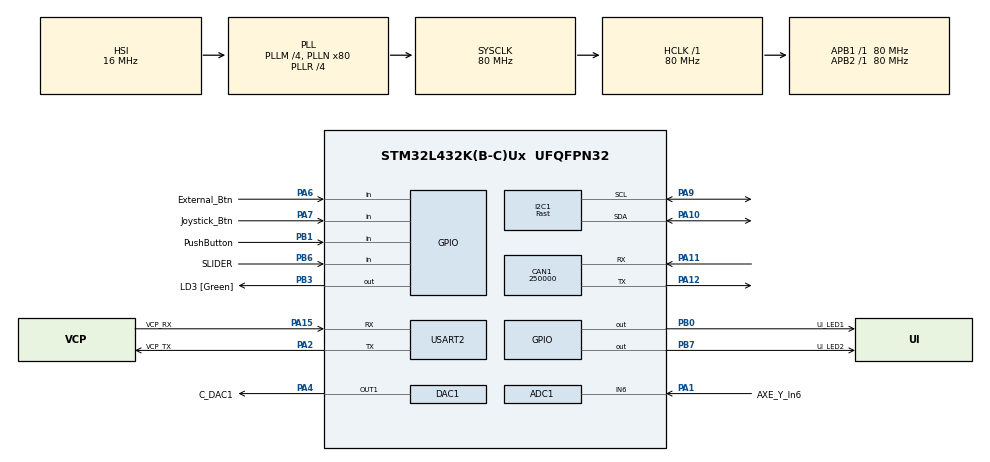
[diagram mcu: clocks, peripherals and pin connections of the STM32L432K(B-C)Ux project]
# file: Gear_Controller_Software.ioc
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ADC1.ClockPrescaler=ADC_CLOCK_ASYNC_DIV64
ADC1.ContinuousConvMode=DISABLE
ADC1.DiscontinuousConvMode=DISABLE
ADC1.EnableInjectedConversion=ENABLE
ADC1.EnableRegularConversion=DISABLE
ADC1.InjMonitoredBy-2\#ChannelInjectedConversion=__NULL
ADC1.InjNumberOfConversion=1
ADC1.InjectedChannel-2\#ChannelInjectedConversion=ADC_CHANNEL_6
ADC1.InjectedOffsetNumber-2\#ChannelInjectedConversion=ADC_OFFSET_NONE
ADC1.InjectedRank-2\#ChannelInjectedConversion=1
ADC1.InjectedSamplingTime-2\#ChannelInjectedConversion=ADC_SAMPLETIME_2CYCLES_5
ADC1.Rank1_Channel=ADC_CHANNEL_6
ADC1.Resolution=ADC_RESOLUTION_12B
ADC1.master=1
CAN1.BS1=CAN_BS1_11TQ
CAN1.BS2=CAN_BS2_8TQ
CAN1.CalculateBaudRate=250000
CAN1.CalculateTimeBit=4000
CAN1.CalculateTimeQuantum=200.0
Dma.ADC1.0.Direction=DMA_PERIPH_TO_MEMORY
Dma.ADC1.0.Instance=DMA1_Channel1
Dma.ADC1.0.MemDataAlignment=DMA_MDATAALIGN_HALFWORD
Dma.ADC1.0.MemInc=DMA_MINC_ENABLE
Dma.ADC1.0.Mode=DMA_CIRCULAR
Dma.ADC1.0.PeriphDataAlignment=DMA_PDATAALIGN_HALFWORD
Dma.ADC1.0.PeriphInc=DMA_PINC_DISABLE
Dma.ADC1.0.Priority=DMA_PRIORITY_LOW
Dma.Request0=ADC1
I2C1.I2C_Rise_Time=0
I2C1.I2C_Speed_Mode=I2C_Fast
I2C1.Timing=0x00712989
Mcu.Family=STM32L4
Mcu.Name=STM32L432K(B-C)Ux
Mcu.Package=UFQFPN32
NVIC.ADC1_IRQn=true\:2\:0\:true\:false\:true\:true\:true\:true
NVIC.CAN1_RX0_IRQn=true\:1\:0\:true\:false\:true\:true\:true\:true
NVIC.CAN1_RX1_IRQn=true\:0\:0\:false\:false\:true\:true\:true\:true
NVIC.CAN1_TX_IRQn=true\:1\:0\:true\:false\:true\:true\:true\:true
NVIC.DMA1_Channel1_IRQn=true\:0\:0\:false\:false\:true\:false\:true\:true
NVIC.PriorityGroup=NVIC_PRIORITYGROUP_4
NVIC.TIM2_IRQn=true\:0\:0\:false\:false\:true\:true\:true\:true
PA1.GPIO_Label=AXE_Y_In6
PA1.Signal=ADCx_IN6
PA10.Mode=I2C
PA10.Signal=I2C1_SDA
PA11.Mode=CAN_Activate
PA11.Signal=CAN1_RX
PA12.Mode=CAN_Activate
PA12.Signal=CAN1_TX
PA13\ (JTMS-SWDIO).GPIO_Label=SWDIO
PA13\ (JTMS-SWDIO).Mode=Serial_Wire
PA13\ (JTMS-SWDIO).Signal=SYS_JTMS-SWDIO
PA14\ (JTCK-SWCLK).GPIO_Label=SWCLK
PA14\ (JTCK-SWCLK).Mode=Serial_Wire
PA14\ (JTCK-SWCLK).Signal=SYS_JTCK-SWCLK
PA15\ (JTDI).GPIO_Label=VCP_RX
PA15\ (JTDI).Mode=Asynchronous
PA15\ (JTDI).Signal=USART2_RX
PA2.GPIO_Label=VCP_TX
PA2.Mode=Asynchronous
PA2.Signal=USART2_TX
PA3.Signal=ADCx_IN8
PA4.GPIO_Label=C_DAC1
PA4.Signal=COMP_DAC11_group
PA5.Signal=ADCx_IN10
PA6.GPIO_Label=External_Btn
PA6.Signal=GPIO_Input
PA7.GPIO_Label=Joystick_Btn
PA7.Signal=GPIO_Input
PA9.Mode=I2C
PA9.Signal=I2C1_SCL
PB0.GPIO_Label=UI_LED1
PB0.GPIO_ModeDefaultOutputPP=GPIO_MODE_OUTPUT_OD
PB0.GPIO_PuPd=GPIO_NOPULL
PB0.Signal=GPIO_Output
PB1.GPIO_Label=PushButton
PB1.Signal=GPIO_Input
PB3\ (JTDO-TRACESWO).GPIO_Label=LD3 [Green]
PB3\ (JTDO-TRACESWO).Signal=GPIO_Output
PB6.GPIO_Label=SLIDER
PB6.Signal=GPIO_Input
PB7.GPIO_Label=UI_LED2
PB7.GPIO_ModeDefaultOutputPP=GPIO_MODE_OUTPUT_OD
PB7.GPIO_PuPd=GPIO_NOPULL
PB7.Signal=GPIO_Output
PC14-OSC32_IN\ (PC14).Mode=LSE-External-Oscillator
PC14-OSC32_IN\ (PC14).Signal=RCC_OSC32_IN
PC15-OSC32_OUT\ (PC15).Mode=LSE-External-Oscillator
PC15-OSC32_OUT\ (PC15).Signal=RCC_OSC32_OUT
ProjectManager.HeapSize=0x200
ProjectManager.StackSize=0x400
ProjectManager.TargetToolchain=STM32CubeIDE
RCC.ADCFreq_Value=32000000
RCC.AHBFreq_Value=80000000
RCC.APB1Freq_Value=80000000
RCC.APB1TimFreq_Value=80000000
RCC.APB2Freq_Value=80000000
RCC.APB2TimFreq_Value=80000000
RCC.CortexFreq_Value=80000000
RCC.HCLKFreq_Value=80000000
RCC.HSE_VALUE=8000000
RCC.HSI16_VALUE=16000000
RCC.HSI48_VALUE=48000000
RCC.HSI_VALUE=16000000
RCC.I2C1CLockSelection=RCC_I2C1CLKSOURCE_SYSCLK
RCC.MSI_VALUE=4000000
RCC.PLLM=4
RCC.PLLMUL=RCC_PLLMUL_4
RCC.PLLN=80
RCC.PLLR=RCC_PLLR_DIV4
RCC.PLLSAI1N=16
RCC.PLLSourceVirtual=RCC_PLLSOURCE_HSI
RCC.SYSCLKFreq_VALUE=80000000
RCC.SYSCLKSource=RCC_SYSCLKSOURCE_PLLCLK
RCC.USBFreq_Value=32000000
RCC.VCOOutputFreq_Value=320000000
SH.ADCx_IN10.0=ADC1_IN10
SH.ADCx_IN6.0=ADC1_IN6,IN6-Single-Ended
SH.ADCx_IN8.0=ADC1_IN8
SH.COMP_DAC11_group.0=DAC1_OUT1,DAC_OUT1
TIM2.AutoReloadPreload=TIM_AUTORELOAD_PRELOAD_ENABLE
TIM2.Period=999
TIM2.Prescaler=79
USART2.VirtualMode-Asynchronous=VM_ASYNC
VP_TIM2_VS_ClockSourceINT.Mode=Internal
board=NUCLEO-L432KC

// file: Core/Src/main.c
/* USER CODE BEGIN Header */
/**
  ******************************************************************************
  * @file           : main.c
  * @brief          : Main program body
  ******************************************************************************
  * @attention
  *
  * Copyright (c) 2026 STMicroelectronics.
  * All rights reserved.
  *
  * This software is licensed under terms that can be found in the LICENSE file
  * in the root directory of this software component.
  * If no LICENSE file comes with this software, it is provided AS-IS.
  *
  ******************************************************************************
  */
/* USER CODE END Header */
#include "main.h"

/* USER CODE BEGIN Includes */

#include "Project_Defines.h"
//#include "301/CO_ODinterface.h"

/* USER CODE END Includes */

ADC_HandleTypeDef hadc1;
DMA_HandleTypeDef hdma_adc1;

CAN_HandleTypeDef hcan1;

DAC_HandleTypeDef hdac1;

I2C_HandleTypeDef hi2c1;

TIM_HandleTypeDef htim2;

UART_HandleTypeDef huart2;

/* USER CODE BEGIN PV */
CANopenNodeSTM32 canOpenNodeSTM32;
Gear_ST gear;

//uint32_t adc_ch6 = 0; // Channel 6 of the ADC
//uint32_t adc_ch8 = 0; // Channel 8 of the ADC
bool lectureADC = true;
uint32_t pos;
//I2C_HandleTypeDef *phi2c1;

/* USER CODE END PV */

void SystemClock_Config(void);
static void MX_GPIO_Init(void);
static void MX_DMA_Init(void);
static void MX_USART2_UART_Init(void);
static void MX_ADC1_Init(void);
static void MX_CAN1_Init(void);
static void MX_DAC1_Init(void);
static void MX_TIM2_Init(void);
static void MX_I2C1_Init(void);

/* USER CODE BEGIN 0 */
void HAL_ADCEx_InjectedConvCpltCallback(ADC_HandleTypeDef *hadc)
{
	pos = HAL_ADCEx_InjectedGetValue(hadc, ADC_INJECTED_RANK_1);
	OD_RAM.x2003_gearADCpos = pos;
	gear.position = pos;
	HAL_ADCEx_InjectedStart_IT(&hadc1);
}

void HAL_TIM_PeriodElapsedCallback(TIM_HandleTypeDef *htim)
{
	canopen_app_interrupt();
	XF_decrementAndQueueTimers();
}

static OD_extension_t my_extensionGear;

//Saves parameters from bus master
  static ODR_t storeCallback(OD_stream_t *stream, const void *buf,OD_size_t count, OD_size_t *countWritten)
  {
  	if (stream->subIndex == 4) // save manufacturer defined parameters (subindex 4)
  	{
  		if(strncmp(buf,"save",4) == 0) // check if «save» string has been written (Byte0‐3)
  		{
  			FlashErase(1); // erase flash
  			FlashWrite(0,0x1234567812345678); // signature

  			FlashWrite(8,OD_PERSIST_COMM.x2001_gearPos0); // save your parameters values
  			FlashWrite(16,OD_PERSIST_COMM.x2002_gearPos1); // save your parameters values
  			FlashWrite(24,OD_PERSIST_COMM.x2005_gearPosN); // save your parameters values

  		}
  	}
  }

  //write in OD if right data in bus master
  void mapCallbacks(OD_t *od) {

  	/* Find the OD entry for Index 0x1010 */
  	OD_entry_t *entry = OD_find(od, 0x1010); // Find the OD entry for joystick value
  	if (entry != NULL) {
  		// Assign the custom write function (set read to NULL if not needed)
  		my_extensionGear.read = NULL;

  		// utilisé pour écrire sur la flash
  		my_extensionGear.write = storeCallback;

  		my_extensionGear.object = NULL; // Can be used to store private data
  		// Register the extension to the OD entry
  		OD_extension_init(entry, &my_extensionGear);
  	}
  }

/* USER CODE END 0 */

int main(void)
{

  /* MCU Configuration--------------------------------------------------------*/

  /* Reset of all peripherals, Initializes the Flash interface and the Systick. */
  HAL_Init();

  /* Configure the system clock */
  SystemClock_Config();

  /* Initialize all configured peripherals */
  MX_GPIO_Init();
  MX_DMA_Init();
  MX_USART2_UART_Init();
  MX_ADC1_Init();
  MX_CAN1_Init();
  MX_DAC1_Init();
  MX_TIM2_Init();
  MX_I2C1_Init();
  /* USER CODE BEGIN 2 */
  HAL_TIM_Base_Start_IT(&htim2);

  XF_init();

  HAL_DAC_Start(&hdac1, DAC_CHANNEL_1);

  // before canopen_app_init()
  //read data entered from flash
  if(FlashRead(0) == 0x1234567812345678)
  {
	  //if default values saved in flash, read flash (for now no values stored)
	  OD_PERSIST_COMM.x2001_gearPos0 = FlashRead(8);
	  OD_PERSIST_COMM.x2002_gearPos1 = FlashRead(16);
	  OD_PERSIST_COMM.x2005_gearPosN = FlashRead(24);
  }
  else
  {
	  FlashErase(1); // erase flash
	  FlashWrite(0,0x1234567812345678); // signature

	  FlashWrite(8,OD_PERSIST_COMM.x2001_gearPos0); // save your parameters values
	  FlashWrite(16,OD_PERSIST_COMM.x2002_gearPos1); // save your parameters values
	  FlashWrite(24,OD_PERSIST_COMM.x2005_gearPosN); // save your parameters values

  }

  // 1. Map the CANopen instance to your hardware (hcan1 is usually defined by CubeMX)
  canOpenNodeSTM32.CANHandle = &hcan1;
  // 2. Set your hardware initialization function (defined in can.c)
  canOpenNodeSTM32.HWInitFunction = MX_CAN1_Init;
  // 3. Map the timer used for CANopen heartbeat and fast tasks (e.g., TIM2)
  canOpenNodeSTM32.timerHandle = &htim2;
  // 4. Configure Node‐ID (1‐127) and Baudrate (e.g., 125, 250, 500, 1000)
  canOpenNodeSTM32.desiredNodeID = 5;
  canOpenNodeSTM32.baudrate = 250;
  // 5. Initialize the application
//  mapCallbacks(OD);
  canopen_app_init(&canOpenNodeSTM32);
  HAL_ADCEx_InjectedStart(&hadc1);

  //Initialize SM_
  XF_post(gearProcess, E_INIT, 0);

  /* USER CODE END 2 */

  /* Infinite loop */
  /* USER CODE BEGIN WHILE */
  while (1)
  {
	  canopen_app_process();

    /* USER CODE END WHILE */

    /* USER CODE BEGIN 3 */

	  XF_executeOnce();
	  if(HAL_ADCEx_InjectedPollForConversion(&hadc1, 0) == HAL_OK)
	  {
		  pos = HAL_ADCEx_InjectedGetValue(&hadc1, ADC_INJECTED_RANK_1);
		  OD_RAM.x2003_gearADCpos = pos;
		  gear.position = pos;
		  HAL_ADCEx_InjectedStart(&hadc1);
	  }

  }
  /* USER CODE END 3 */
}

void SystemClock_Config(void)
{
  RCC_OscInitTypeDef RCC_OscInitStruct = {0};
  RCC_ClkInitTypeDef RCC_ClkInitStruct = {0};

  /** Configure the main internal regulator output voltage
  */
  if (HAL_PWREx_ControlVoltageScaling(PWR_REGULATOR_VOLTAGE_SCALE1) != HAL_OK)
  {
    Error_Handler();
  }

  /** Initializes the RCC Oscillators according to the specified parameters
  * in the RCC_OscInitTypeDef structure.
  */
  RCC_OscInitStruct.OscillatorType = RCC_OSCILLATORTYPE_HSI;
  RCC_OscInitStruct.HSIState = RCC_HSI_ON;
  RCC_OscInitStruct.HSICalibrationValue = RCC_HSICALIBRATION_DEFAULT;
  RCC_OscInitStruct.PLL.PLLState = RCC_PLL_ON;
  RCC_OscInitStruct.PLL.PLLSource = RCC_PLLSOURCE_HSI;
  RCC_OscInitStruct.PLL.PLLM = 4;
  RCC_OscInitStruct.PLL.PLLN = 80;
  RCC_OscInitStruct.PLL.PLLP = RCC_PLLP_DIV7;
  RCC_OscInitStruct.PLL.PLLQ = RCC_PLLQ_DIV2;
  RCC_OscInitStruct.PLL.PLLR = RCC_PLLR_DIV4;
  if (HAL_RCC_OscConfig(&RCC_OscInitStruct) != HAL_OK)
  {
    Error_Handler();
  }

  /** Initializes the CPU, AHB and APB buses clocks
  */
  RCC_ClkInitStruct.ClockType = RCC_CLOCKTYPE_HCLK|RCC_CLOCKTYPE_SYSCLK
                              |RCC_CLOCKTYPE_PCLK1|RCC_CLOCKTYPE_PCLK2;
  RCC_ClkInitStruct.SYSCLKSource = RCC_SYSCLKSOURCE_PLLCLK;
  RCC_ClkInitStruct.AHBCLKDivider = RCC_SYSCLK_DIV1;
  RCC_ClkInitStruct.APB1CLKDivider = RCC_HCLK_DIV1;
  RCC_ClkInitStruct.APB2CLKDivider = RCC_HCLK_DIV1;

  if (HAL_RCC_ClockConfig(&RCC_ClkInitStruct, FLASH_LATENCY_4) != HAL_OK)
  {
    Error_Handler();
  }
}

static void MX_ADC1_Init(void)
{

  ADC_InjectionConfTypeDef sConfigInjected = {0};

  /** Common config
  */
  hadc1.Instance = ADC1;
  hadc1.Init.ClockPrescaler = ADC_CLOCK_ASYNC_DIV64;
  hadc1.Init.Resolution = ADC_RESOLUTION_12B;
  hadc1.Init.DataAlign = ADC_DATAALIGN_RIGHT;
  hadc1.Init.ScanConvMode = ADC_SCAN_DISABLE;
  hadc1.Init.EOCSelection = ADC_EOC_SINGLE_CONV;
  hadc1.Init.LowPowerAutoWait = DISABLE;
  hadc1.Init.ContinuousConvMode = DISABLE;
  hadc1.Init.NbrOfConversion = 1;
  hadc1.Init.DiscontinuousConvMode = DISABLE;
  hadc1.Init.DMAContinuousRequests = DISABLE;
  hadc1.Init.Overrun = ADC_OVR_DATA_PRESERVED;
  hadc1.Init.OversamplingMode = DISABLE;
  if (HAL_ADC_Init(&hadc1) != HAL_OK)
  {
    Error_Handler();
  }

  /** Disable Injected Queue
  */
  HAL_ADCEx_DisableInjectedQueue(&hadc1);

  /** Configure Injected Channel
  */
  sConfigInjected.InjectedChannel = ADC_CHANNEL_6;
  sConfigInjected.InjectedRank = ADC_INJECTED_RANK_1;
  sConfigInjected.InjectedSamplingTime = ADC_SAMPLETIME_2CYCLES_5;
  sConfigInjected.InjectedSingleDiff = ADC_SINGLE_ENDED;
  sConfigInjected.InjectedOffsetNumber = ADC_OFFSET_NONE;
  sConfigInjected.InjectedOffset = 0;
  sConfigInjected.InjectedNbrOfConversion = 1;
  sConfigInjected.InjectedDiscontinuousConvMode = DISABLE;
  sConfigInjected.AutoInjectedConv = DISABLE;
  sConfigInjected.QueueInjectedContext = DISABLE;
  sConfigInjected.ExternalTrigInjecConv = ADC_INJECTED_SOFTWARE_START;
  sConfigInjected.ExternalTrigInjecConvEdge = ADC_EXTERNALTRIGINJECCONV_EDGE_NONE;
  sConfigInjected.InjecOversamplingMode = DISABLE;
  if (HAL_ADCEx_InjectedConfigChannel(&hadc1, &sConfigInjected) != HAL_OK)
  {
    Error_Handler();
  }

}

static void MX_CAN1_Init(void)
{

  hcan1.Instance = CAN1;
  hcan1.Init.Prescaler = 16;
  hcan1.Init.Mode = CAN_MODE_NORMAL;
  hcan1.Init.SyncJumpWidth = CAN_SJW_1TQ;
  hcan1.Init.TimeSeg1 = CAN_BS1_11TQ;
  hcan1.Init.TimeSeg2 = CAN_BS2_8TQ;
  hcan1.Init.TimeTriggeredMode = DISABLE;
  hcan1.Init.AutoBusOff = DISABLE;
  hcan1.Init.AutoWakeUp = DISABLE;
  hcan1.Init.AutoRetransmission = DISABLE;
  hcan1.Init.ReceiveFifoLocked = DISABLE;
  hcan1.Init.TransmitFifoPriority = DISABLE;
  if (HAL_CAN_Init(&hcan1) != HAL_OK)
  {
    Error_Handler();
  }

}

static void MX_DAC1_Init(void)
{

  DAC_ChannelConfTypeDef sConfig = {0};

  /** DAC Initialization
  */
  hdac1.Instance = DAC1;
  if (HAL_DAC_Init(&hdac1) != HAL_OK)
  {
    Error_Handler();
  }

  /** DAC channel OUT1 config
  */
  sConfig.DAC_SampleAndHold = DAC_SAMPLEANDHOLD_DISABLE;
  sConfig.DAC_Trigger = DAC_TRIGGER_NONE;
  sConfig.DAC_OutputBuffer = DAC_OUTPUTBUFFER_ENABLE;
  sConfig.DAC_ConnectOnChipPeripheral = DAC_CHIPCONNECT_DISABLE;
  sConfig.DAC_UserTrimming = DAC_TRIMMING_FACTORY;
  if (HAL_DAC_ConfigChannel(&hdac1, &sConfig, DAC_CHANNEL_1) != HAL_OK)
  {
    Error_Handler();
  }

}

static void MX_I2C1_Init(void)
{

  hi2c1.Instance = I2C1;
  hi2c1.Init.Timing = 0x00712989;
  hi2c1.Init.OwnAddress1 = 0;
  hi2c1.Init.AddressingMode = I2C_ADDRESSINGMODE_7BIT;
  hi2c1.Init.DualAddressMode = I2C_DUALADDRESS_DISABLE;
  hi2c1.Init.OwnAddress2 = 0;
  hi2c1.Init.OwnAddress2Masks = I2C_OA2_NOMASK;
  hi2c1.Init.GeneralCallMode = I2C_GENERALCALL_DISABLE;
  hi2c1.Init.NoStretchMode = I2C_NOSTRETCH_DISABLE;
  if (HAL_I2C_Init(&hi2c1) != HAL_OK)
  {
    Error_Handler();
  }

  /** Configure Analogue filter
  */
  if (HAL_I2CEx_ConfigAnalogFilter(&hi2c1, I2C_ANALOGFILTER_ENABLE) != HAL_OK)
  {
    Error_Handler();
  }

  /** Configure Digital filter
  */
  if (HAL_I2CEx_ConfigDigitalFilter(&hi2c1, 0) != HAL_OK)
  {
    Error_Handler();
  }

}

static void MX_TIM2_Init(void)
{

  TIM_ClockConfigTypeDef sClockSourceConfig = {0};
  TIM_MasterConfigTypeDef sMasterConfig = {0};

  htim2.Instance = TIM2;
  htim2.Init.Prescaler = 79;
  htim2.Init.CounterMode = TIM_COUNTERMODE_UP;
  htim2.Init.Period = 999;
  htim2.Init.ClockDivision = TIM_CLOCKDIVISION_DIV1;
  htim2.Init.AutoReloadPreload = TIM_AUTORELOAD_PRELOAD_ENABLE;
  if (HAL_TIM_Base_Init(&htim2) != HAL_OK)
  {
    Error_Handler();
  }
  sClockSourceConfig.ClockSource = TIM_CLOCKSOURCE_INTERNAL;
  if (HAL_TIM_ConfigClockSource(&htim2, &sClockSourceConfig) != HAL_OK)
  {
    Error_Handler();
  }
  sMasterConfig.MasterOutputTrigger = TIM_TRGO_RESET;
  sMasterConfig.MasterSlaveMode = TIM_MASTERSLAVEMODE_DISABLE;
  if (HAL_TIMEx_MasterConfigSynchronization(&htim2, &sMasterConfig) != HAL_OK)
  {
    Error_Handler();
  }

}

static void MX_USART2_UART_Init(void)
{

  huart2.Instance = USART2;
  huart2.Init.BaudRate = 115200;
  huart2.Init.WordLength = UART_WORDLENGTH_8B;
  huart2.Init.StopBits = UART_STOPBITS_1;
  huart2.Init.Parity = UART_PARITY_NONE;
  huart2.Init.Mode = UART_MODE_TX_RX;
  huart2.Init.HwFlowCtl = UART_HWCONTROL_NONE;
  huart2.Init.OverSampling = UART_OVERSAMPLING_16;
  huart2.Init.OneBitSampling = UART_ONE_BIT_SAMPLE_DISABLE;
  huart2.AdvancedInit.AdvFeatureInit = UART_ADVFEATURE_NO_INIT;
  if (HAL_UART_Init(&huart2) != HAL_OK)
  {
    Error_Handler();
  }

}

static void MX_DMA_Init(void)
{

  /* DMA controller clock enable */
  __HAL_RCC_DMA1_CLK_ENABLE();

  /* DMA interrupt init */
  /* DMA1_Channel1_IRQn interrupt configuration */
  HAL_NVIC_SetPriority(DMA1_Channel1_IRQn, 0, 0);
  HAL_NVIC_EnableIRQ(DMA1_Channel1_IRQn);

}

static void MX_GPIO_Init(void)
{
  GPIO_InitTypeDef GPIO_InitStruct = {0};

  /* GPIO Ports Clock Enable */
  __HAL_RCC_GPIOC_CLK_ENABLE();
  __HAL_RCC_GPIOA_CLK_ENABLE();
  __HAL_RCC_GPIOB_CLK_ENABLE();

  /*Configure GPIO pin Output Level */
  HAL_GPIO_WritePin(GPIOB, UI_LED1_Pin|LD3_Pin|UI_LED2_Pin, GPIO_PIN_RESET);

  /*Configure GPIO pins : External_Btn_Pin Joystick_Btn_Pin */
  GPIO_InitStruct.Pin = External_Btn_Pin|Joystick_Btn_Pin;
  GPIO_InitStruct.Mode = GPIO_MODE_INPUT;
  GPIO_InitStruct.Pull = GPIO_NOPULL;
  HAL_GPIO_Init(GPIOA, &GPIO_InitStruct);

  /*Configure GPIO pins : UI_LED1_Pin UI_LED2_Pin */
  GPIO_InitStruct.Pin = UI_LED1_Pin|UI_LED2_Pin;
  GPIO_InitStruct.Mode = GPIO_MODE_OUTPUT_OD;
  GPIO_InitStruct.Pull = GPIO_NOPULL;
  GPIO_InitStruct.Speed = GPIO_SPEED_FREQ_LOW;
  HAL_GPIO_Init(GPIOB, &GPIO_InitStruct);

  /*Configure GPIO pins : PushButton_Pin SLIDER_Pin */
  GPIO_InitStruct.Pin = PushButton_Pin|SLIDER_Pin;
  GPIO_InitStruct.Mode = GPIO_MODE_INPUT;
  GPIO_InitStruct.Pull = GPIO_NOPULL;
  HAL_GPIO_Init(GPIOB, &GPIO_InitStruct);

  /*Configure GPIO pin : LD3_Pin */
  GPIO_InitStruct.Pin = LD3_Pin;
  GPIO_InitStruct.Mode = GPIO_MODE_OUTPUT_PP;
  GPIO_InitStruct.Pull = GPIO_NOPULL;
  GPIO_InitStruct.Speed = GPIO_SPEED_FREQ_LOW;
  HAL_GPIO_Init(LD3_GPIO_Port, &GPIO_InitStruct);

}

void Error_Handler(void)
{
  __disable_irq();
  while (1)
  {
  }
}
